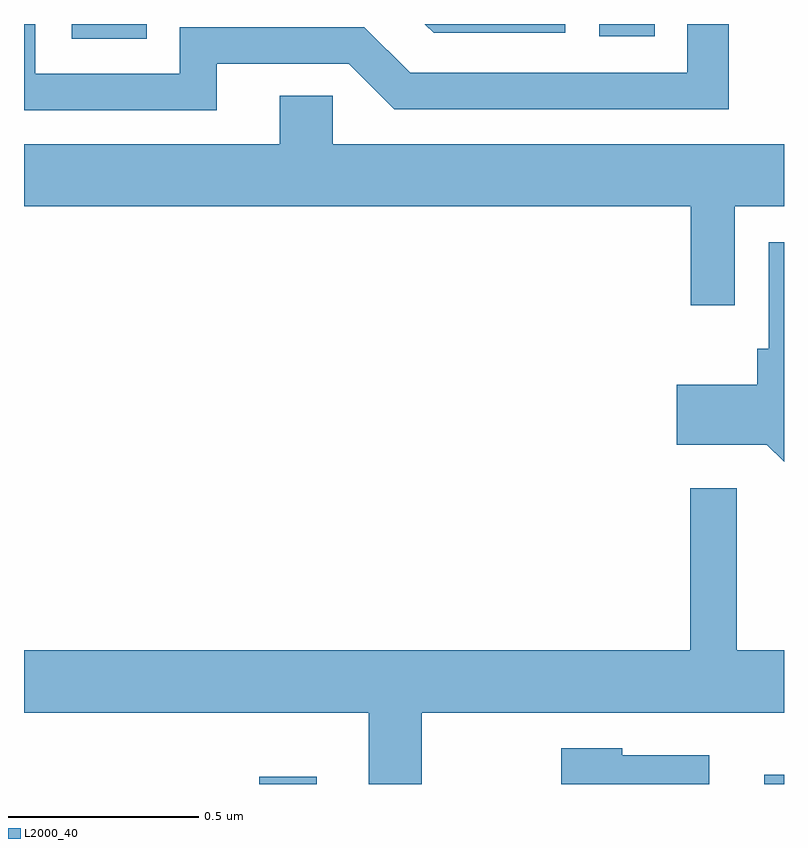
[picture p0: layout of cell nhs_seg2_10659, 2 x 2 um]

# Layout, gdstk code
import gdstk
lib = gdstk.Library(unit=1e-6, precision=1e-09)
def R(c, l, rs):  # rectangles x0, y0, x1, y1
    for r in rs: c.add(gdstk.rectangle(r[:2], r[2:], *l))
def P(c, l, *ps):  # polygons
    for p in ps: c.add(gdstk.Polygon(p, *l))
L2000_40 = (2000, 40)

nhs_seg2_10659 = lib.new_cell('nhs_seg2_10659')
R(nhs_seg2_10659, L2000_40, [(244.619,628.8,244.771,628.819), (245.948,628.8,246,628.825), (244.125,630.761,244.323,630.8), (245.514,630.768,245.66,630.8)])
P(nhs_seg2_10659, L2000_40, [(244.507,630.696),(244.854,630.696),(244.974,630.576),(245.854,630.576),(245.854,630.8),(245.745,630.8),(245.745,630.672),(245.016,630.672),(244.896,630.792),(244.41,630.792),(244.41,630.669),(244.029,630.669),(244.029,630.8),(244,630.8),(244,630.573),(244.507,630.573)],
  [(245.424,630.8),(245.055,630.8),(245.078,630.777),(245.424,630.777)],
  [(245.871,630.32),(246,630.32),(246,630.484),(244.812,630.484),(244.812,630.611),(244.673,630.611),(244.673,630.484),(244,630.484),(244,630.32),(245.755,630.32),(245.755,630.06),(245.871,630.06)],
  [(246,630.226),(245.96,630.226),(245.96,629.946),(245.93,629.946),(245.93,629.851),(245.718,629.851),(245.718,629.693),(245.955,629.693),(246,629.648)],
  [(245.047,628.988),(246,628.988),(246,629.152),(245.875,629.152),(245.875,629.578),(245.753,629.578),(245.753,629.152),(244,629.152),(244,628.988),(244.907,628.988),(244.907,628.8),(245.047,628.8)],
  [(245.803,628.876),(245.574,628.876),(245.574,628.894),(245.414,628.894),(245.414,628.8),(245.803,628.8)])

lib.write_gds('nhs_seg2_10659.gds')
